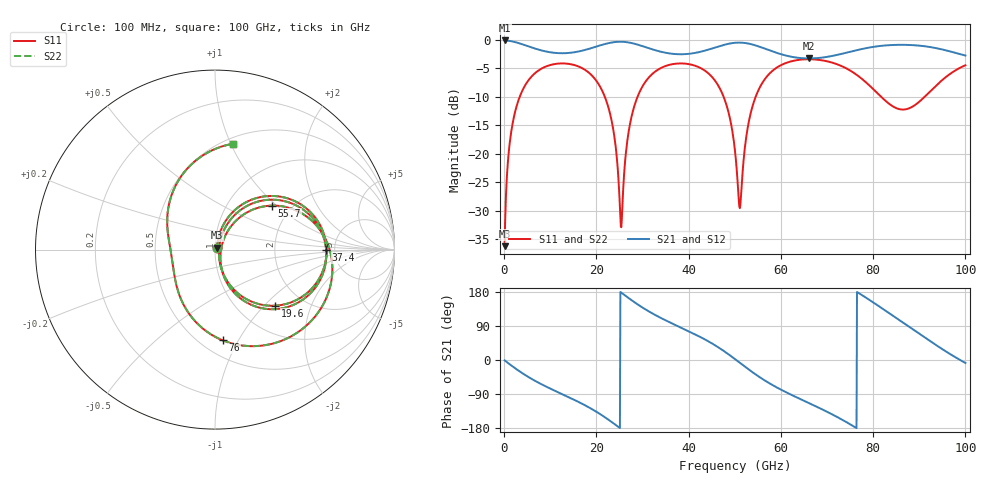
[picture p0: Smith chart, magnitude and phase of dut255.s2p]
! Touchstone file exported from HFSS 2026.1.0
!  File:  C:/ffzhzh/LocalFiles/Ansys_Project_Files/temp_train_TSV_RDL_255_1783671955_33328.aedt
!  Generated:  04:35:41 PM Jul 10, 2026
!  Design:  TSV_RDL
!  Project:  temp_train_TSV_RDL_255_1783671955_33328
! Variables:
!  h_bsmrdl = 4.53um
!  h_ox = 20um
!  h_rdl = 5um
!  h_sub = 62.7um
!  h_tmrdl = 4.68um
!  h_tsv = 62.7um
!  h_via = 3um
!  l_bsmrdl = 308.58um
!  l_sub = 2525.82um
!  l_tmrdl = 269.9um
!  m_sub = 200um
!  pitch = 58.43um
!  r_tsv = 5.47um
!  s_tmrdl = 10um
!  w_bsmrdl = 13.35um
!  w_sub = 500um
!  w_tmrdl = 26.81um
!  x_tsv_center1 = 283.305um
!  x_tsv_center2 = 605.235um
!  x_tsv_center3 = 901.945um
!  x_tsv_center4 = 1223.875um
!  x_tsv_center5 = 1520.585um
!  x_tsv_center6 = 1842.515um
# GHz S MA R 50.000000
! Terminal data exported
! Port[1] = TM_RDL1_1_T1
! Port[2] = TM_RDL5_1_T1
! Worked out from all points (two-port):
!   1000 points, 100 MHz to 100 GHz, reference 50 ohm
!   highest |S21| = -0.10 dB at 100 MHz (marker M1); lowest = -3.3 dB at 66.1 GHz (marker M2)
!   |S21| within 3 dB of the highest: start of sweep to 63.29 GHz; 69.04 GHz to end of sweep
!   lowest |S11| = -36.2 dB at 100 MHz (marker M3), VSWR 1.03, Z = 51.1 + j1.09 ohm
!   |S11| at or under -10 dB: 21.83 GHz to 28.91 GHz (7.085 GHz wide, 27.9 % of centre); 47.59 GHz to 54.52 GHz (6.936 GHz wide, 13.6 % of centre); 81.75 GHz to 91.15 GHz (9.406 GHz wide, 10.9 % of centre) (the widest 3 of 4)
!   |S22| runs from -36.2 to -3.4 dB; largest |S21 - S12| = 1.7e-14
!   S11 on the Smith chart (normalised r, x): 100 MHz: 1.02, +0.02; 19.6 GHz: 1.46, -1.16; 37.4 GHz: 4.25, -0.02; 55.7 GHz: 1.60, +0.93; 76 GHz: 0.63, -0.86; 100 GHz: 0.56, +1.02
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0.1  0.01544 43.6  0.9889 -1.0  0.9889 -1.0  0.01544 43.6
! Gamma 0 0 0 0
! Port Impedance 50 0 50 0
1.5  0.1526 70.9  0.9747 -14.0  0.9747 -14.0  0.1526 70.9
4.1  0.3693 51.1  0.9111 -36.1  0.9111 -36.1  0.3693 51.1
10.5  0.6087 10.1  0.7735 -78.4  0.7735 -78.4  0.6087 10.1
16.8  0.5678 -25.1  0.8022 -114.8  0.8022 -114.8  0.5678 -25.1
19.6  0.4586 -43.0  0.864 -133.7  0.864 -133.7  0.4586 -42.9
23.2  0.2041 -67.8  0.947 -162.6  0.947 -162.6  0.2042 -67.8
25.4  0.02263 6.3  0.9636 177.7  0.9636 177.7  0.0228 6.2
28  0.2441 58.7  0.931 154.6  0.931 154.6  0.2441 58.7
33.4  0.5494 22.6  0.7983 114.6  0.7983 114.6  0.5494 22.6
37.4  0.6193 -0.1  0.7498 90.8  0.7498 90.8  0.6193 -0.1
46.1  0.4166 -51.5  0.8662 36.0  0.8662 36.0  0.4166 -51.5
50.1  0.1013 -70.1  0.9437 1.9  0.9437 1.9  0.1012 -70.2
51.2  0.03515 9.9  0.9466 -8.2  0.9466 -8.2  0.03494 10.2
53  0.1873 54.5  0.928 -24.7  0.928 -24.7  0.1872 54.7
55.7  0.4014 37.6  0.862 -47.7  0.862 -47.7  0.4014 37.7
66.1  0.6764 -24.3  0.6873 -113.8  0.6873 -113.8  0.6764 -24.2
66.7  0.6757 -27.6  0.6878 -117.2  0.6878 -117.2  0.6756 -27.5
76  0.5076 -85.2  0.8043 -176.8  0.8043 -176.8  0.5076 -85.0
83.4  0.2762 -143.7  0.8987 124.2  0.8987 124.2  0.2762 -143.6
89.8  0.2822 159.1  0.8922 70.9  0.8922 70.9  0.2822 159.0
100  0.5986 80.3  0.729 -7.9  0.729 -7.9  0.5987 80.1
